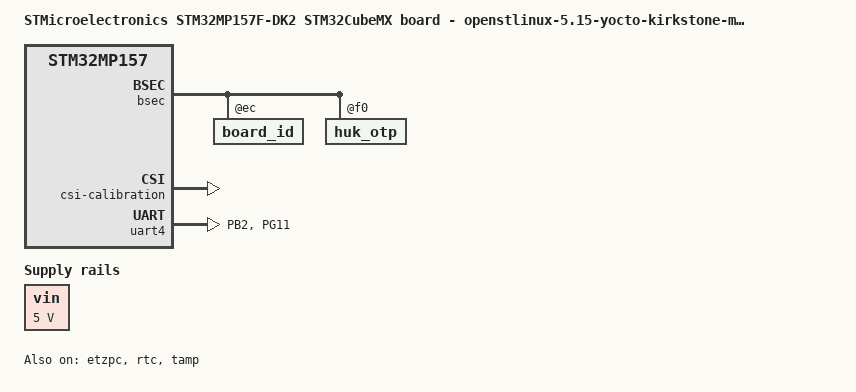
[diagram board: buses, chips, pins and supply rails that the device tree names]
/* SPDX-License-Identifier: (GPL-2.0+ OR BSD-3-Clause) */
/*
 * Copyright (C) STMicroelectronics 2024 - All Rights Reserved
 * Author: STM32CubeMX code generation for STMicroelectronics.
 */

/* For more information on Device Tree configuration, please refer to
 * https://wiki.st.com/stm32mpu/wiki/Category:Device_tree_configuration
 */

/dts-v1/;
#include <dt-bindings/pinctrl/stm32-pinfunc.h>
#include <dt-bindings/clock/stm32mp1-clksrc.h>
#include <dt-bindings/soc/stm32mp15-etzpc.h>

#include "stm32mp157.dtsi"
#include "stm32mp15xf.dtsi"
#include "stm32mp15xxac-pinctrl.dtsi"

/* USER CODE BEGIN includes */
#include <dt-bindings/power/stm32mp1-power.h>
/* USER CODE END includes */

/ {
	model = "STMicroelectronics STM32MP157F-DK2 STM32CubeMX board - openstlinux-5.15-yocto-kirkstone-mp1-v22.11.23";
	compatible = "st,stm32mp157f-bsttestrelease-mx", "st,stm32mp157";

	/* !!! log : Warning - no DDR config found: 'memory' node not generated  !!! */

	/*
	memory@??? {
		reg = < ??? >;
	};
	*/

	reserved-memory {
		#address-cells = <1>;
		#size-cells = <1>;
		ranges;

		/* USER CODE BEGIN reserved-memory */
		/* USER CODE END reserved-memory */
	};

	/* USER CODE BEGIN root */

	vin:vin{
		compatible = "regulator-fixed";
		regulator-name = "vin";
		regulator-min-microvolt = <5000000>;
		regulator-max-microvolt = <5000000>;
		regulator-always-on;
	};

	aliases{
		serial0 = &uart4;
		serial1 = &usart3;
		serial2 = &uart7;
		serial3 = &usart2;
	};

	chosen{
		stdout-path = "serial0:115200n8";
	};
	/* USER CODE END root */

	clocks {
		/* USER CODE BEGIN clocks */
		/* USER CODE END clocks */

		clk_hsi: clk-hsi {
			clock-frequency = <64000000>;

			/* USER CODE BEGIN clk_hsi */
			/* USER CODE END clk_hsi */
		};
		clk_lse: clk-lse {
			status = "disabled";

			/* USER CODE BEGIN clk_lse */
			/* USER CODE END clk_lse */
		};
		clk_hse: clk-hse {
			status = "disabled";

			/* USER CODE BEGIN clk_hse */
			/* USER CODE END clk_hse */
		};
	};

}; /*root*/

/*Warning: the configuration of the secured GPIOs should be added in (addons) User Section*/
&pinctrl {
	/* USER CODE BEGIN pinctrl */

	uart4_pins_mx: uart4_mx-0 {
		pins1 {
			pinmux = <STM32_PINMUX('B', 2, AF8)>; /* UART4_RX */
			bias-disable;
		};
		pins2 {
			pinmux = <STM32_PINMUX('G', 11, AF6)>; /* UART4_TX */
			bias-disable;
			drive-push-pull;
			slew-rate = <0>;
		};
	};
	/* USER CODE END pinctrl */
};

&pinctrl_z {
	/* USER CODE BEGIN pinctrl_z */
	/* USER CODE END pinctrl_z */
};

&bsec{
	status = "okay";

	/* USER CODE BEGIN bsec */

	board_id:board_id@ec{
		reg = <0xec 0x4>;
		st,non-secure-otp;
	};

	huk_otp:huk_otp@f0{
		reg = <0xf0 0x10>;
	};
	/* USER CODE END bsec */
};

&etzpc{
	status = "okay";
	st,decprot = <
	/*"Non Secured" peripherals*/
	DECPROT(STM32MP1_ETZPC_DMA1_ID, DECPROT_NS_RW, DECPROT_UNLOCK)
	DECPROT(STM32MP1_ETZPC_DMAMUX_ID, DECPROT_NS_RW, DECPROT_UNLOCK)
	/*"Secured" peripherals*/
	DECPROT(STM32MP1_ETZPC_STGENC_ID, DECPROT_S_RW, DECPROT_UNLOCK)
	/*"Mcu Isolation" peripherals*/
	DECPROT(STM32MP1_ETZPC_ADC_ID, DECPROT_MCU_ISOLATION, DECPROT_UNLOCK)
	DECPROT(STM32MP1_ETZPC_DMA2_ID, DECPROT_MCU_ISOLATION, DECPROT_UNLOCK)
	DECPROT(STM32MP1_ETZPC_TIM3_ID, DECPROT_MCU_ISOLATION, DECPROT_UNLOCK)
	DECPROT(STM32MP1_ETZPC_TIM4_ID, DECPROT_MCU_ISOLATION, DECPROT_UNLOCK)
	DECPROT(STM32MP1_ETZPC_TIM5_ID, DECPROT_MCU_ISOLATION, DECPROT_UNLOCK)

	/*Restriction: following IDs are not managed  - please to use User-Section if needed:
		  STM32MP1_ETZPC_SRAMx_ID  STM32MP1_ETZPC_RETRAM_ID  STM32MP1_ETZPC_BKPSRAM_ID*/

	/* USER CODE BEGIN etzpc_decprot */
		/*STM32CubeMX generates a basic and standard configuration for ETZPC.
		Additional device configurations can be added here if needed.
		"etzpc" node could be also overloaded in "addons" User-Section.*/
	/* USER CODE END etzpc_decprot */
	>;

	/* USER CODE BEGIN etzpc */
	/* USER CODE END etzpc */
};

&rcc{
	status = "okay";

	/* USER CODE BEGIN rcc */
	/* USER CODE END rcc */

	st,clksrc = <
		CLK_MPU_PLL1P
		CLK_AXI_PLL2P
		CLK_MCU_PLL3P
		CLK_PLL12_HSI
		CLK_PLL3_HSI
		CLK_PLL4_HSI
		CLK_RTC_LSI
		CLK_MCO1_DISABLED
		CLK_MCO2_DISABLED
	>;
	st,clkdiv = <
		1 		/*MPU*/
		0 		/*AXI*/
		0 		/*MCU*/
		1 		/*APB1*/
		1 		/*APB2*/
		1 		/*APB3*/
		1 		/*APB4*/
		2 		/*APB5*/
		23 		/*RTC*/
		0 		/*MCO1*/
		0 		/*MCO2*/
	>;
	st,pkcs = <
		CLK_CKPER_HSI
		CLK_ETH_DISABLED
		CLK_SDMMC12_DISABLED
		CLK_STGEN_HSI
		CLK_USBPHY_DISABLED
		CLK_SPI2S1_DISABLED
		CLK_SPI2S23_DISABLED
		CLK_SPI45_DISABLED
		CLK_SPI6_DISABLED
		CLK_I2C46_DISABLED
		CLK_SDMMC3_DISABLED
		CLK_ADC_CKPER
		CLK_CEC_DISABLED
		CLK_I2C12_DISABLED
		CLK_I2C35_DISABLED
		CLK_UART1_DISABLED
		CLK_UART24_DISABLED
		CLK_UART35_DISABLED
		CLK_UART6_DISABLED
		CLK_UART78_DISABLED
		CLK_SPDIF_DISABLED
		CLK_SAI1_DISABLED
		CLK_SAI2_DISABLED
		CLK_SAI3_DISABLED
		CLK_SAI4_DISABLED
		CLK_LPTIM1_DISABLED
		CLK_LPTIM23_DISABLED
		CLK_LPTIM45_DISABLED
	>;
	pll2:st,pll@1 {
		compatible = "st,stm32mp1-pll";
		reg = <1>;
		cfg = < 3 24 1 0 0 PQR(1,0,0) >;
	};
	pll3:st,pll@2 {
		compatible = "st,stm32mp1-pll";
		reg = <2>;
		cfg = < 3 27 4 2 36 PQR(1,0,0) >;
		frac = < 0x400 >;
	};
};

&rtc{
	status = "okay";

	/* USER CODE BEGIN rtc */
	/* USER CODE END rtc */
};

&tamp{
	status = "okay";

	/* USER CODE BEGIN tamp */
	/* USER CODE END tamp */
};

/* USER CODE BEGIN addons */

&cpu0{
	cpu-supply = <&vddcore>;
};

&osc_calibration{

	csi-calibration{
		status = "okay";
	};

	hsi-calibration{
		status = "okay";
	};
};

&cpu1{
	cpu-supply = <&vddcore>;
};


&uart4{
	pinctrl-names = "default";
	pinctrl-0 = <&uart4_pins_mx>;
	status = "okay";
};
/* USER CODE END addons */

